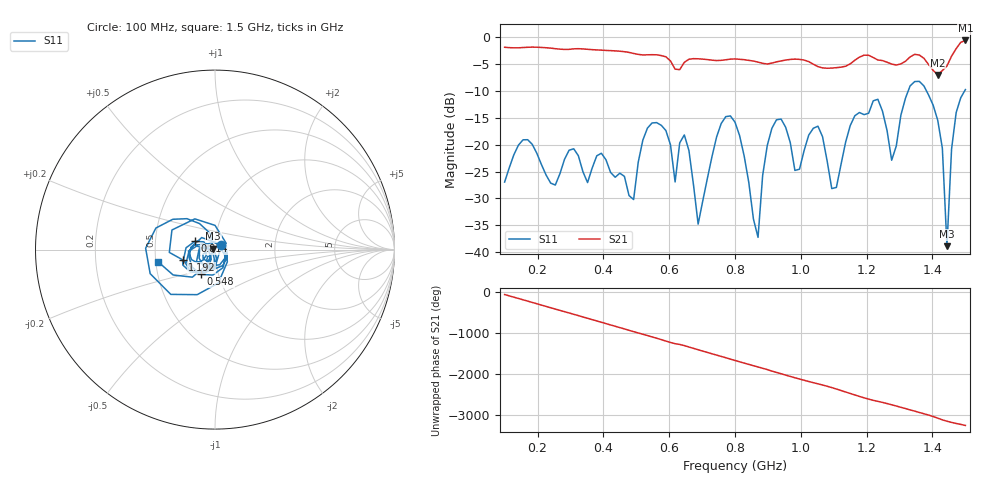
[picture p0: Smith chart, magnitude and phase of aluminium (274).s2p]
! NanoVNA-App
! Date: 2025-09-25 14:57:25
! Start: 100MHz Stop: 1,5GHz Points: 101
! S-Parameter data: F S11 S21 S12 S22
# Hz S RI R 50
!  Frequency  S11_Real  S11_Imag  S21_Real  S21_Imag  S12_Real  S12_Imag  S22_Real  S22_Imag
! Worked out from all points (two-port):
!   101 points, 100 MHz to 1.5 GHz, reference 50 ohm
!   highest |S21| = -0.66 dB at 1.5 GHz (marker M1); lowest = -7.1 dB at 1.416 GHz (marker M2)
!   |S21| within 3 dB of the highest: start of sweep to 587.9 MHz; 1.457 GHz to end of sweep (the widest 2 of 4)
!   lowest |S11| = -38.9 dB at 1.444 GHz (marker M3), VSWR 1.02, Z = 49 + j0.419 ohm
!   |S11| at or under -10 dB: start of sweep to 1.326 GHz; 1.382 GHz to 1.498 GHz (116.4 MHz wide, 8.09 % of centre)
!   S12 and S22 are empty: the file has one direction only
!   S11 on the Smith chart (normalised r, x): 100 MHz: 1.07, +0.06; 548 MHz: 0.82, -0.23; 814 MHz: 0.80, +0.07; 1.192 GHz: 0.69, -0.08; 1.5 GHz: 0.51, -0.08
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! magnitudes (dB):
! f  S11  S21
! 100 MHz  -27.0  -1.9
! 338 MHz  -25.0  -2.2
! 492 MHz  -30.2  -3.1
! 548 MHz  -16.0  -3.3
! 576 MHz  -16.4  -3.5
! 618 MHz  -26.9  -6.0
! 646 MHz  -18.2  -4.7
! 688 MHz  -34.8  -4.1
! 800 MHz  -15.8  -4.1
! 814 MHz  -18.3  -4.2
! 870 MHz  -37.2  -4.7
! 912 MHz  -17.0  -4.9
! 982 MHz  -24.8  -4.1
! 1.038 GHz  -17.0  -5.1
! 1.108 GHz  -28.0  -5.7
! 1.192 GHz  -14.4  -3.4
! 1.276 GHz  -22.9  -5.0
! 1.346 GHz  -8.3  -3.2
! 1.416 GHz  -15.5  -7.1
! 1.444 GHz  -38.9  -5.4
! 1.458 GHz  -20.8  -3.6
! 1.5 GHz  -9.8  -0.7
